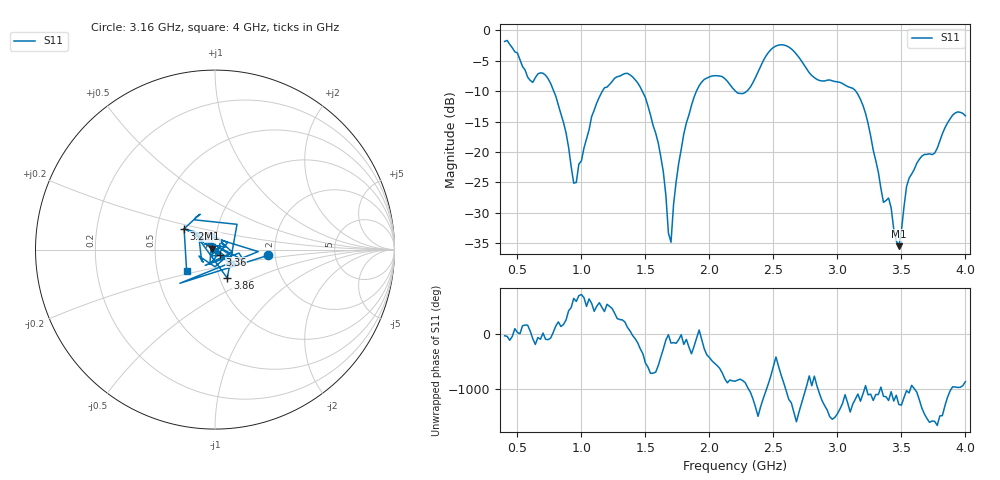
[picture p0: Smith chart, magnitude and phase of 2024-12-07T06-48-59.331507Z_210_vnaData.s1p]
!Created with skrf (http://scikit-rf.org).
# Hz S RI R 50.0
!freq ReS11 ImS11
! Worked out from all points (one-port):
!   181 points, 400 MHz to 4 GHz, reference 50 ohm
!   lowest |S11| = -35.5 dB at 3.48 GHz (marker M1), VSWR 1.03, Z = 48.4 + j0.416 ohm
!   |S11| at or under -10 dB: 784.2 MHz to 1.164 GHz (379.6 MHz wide, 39 % of centre); 1.476 GHz to 1.899 GHz (422.8 MHz wide, 25.1 % of centre); 3.144 GHz to end of sweep (the widest 3 of 4)
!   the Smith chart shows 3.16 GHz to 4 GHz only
!   S11 on the Smith chart (normalised r, x): 3.16 GHz: 1.84, -0.13; 3.22 GHz: 0.69, +0.17; 3.36 GHz: 1.05, -0.06; 3.86 GHz: 1.09, -0.36; 4 GHz: 0.71, -0.18
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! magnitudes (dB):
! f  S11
! 400 MHz  -1.8
! 600 MHz  -8.2
! 740 MHz  -7.9
! 860 MHz  -15.1
! 940 MHz  -25.1
! 960 MHz  -25.0
! 1.12 GHz  -11.9
! 1.3 GHz  -7.5
! 1.5 GHz  -11.0
! 1.62 GHz  -20.8
! 1.7 GHz  -34.9
! 1.76 GHz  -21.9
! 1.82 GHz  -15.2
! 1.94 GHz  -8.5
! 2.2 GHz  -9.9
! 2.3 GHz  -9.8
! 2.5 GHz  -2.8
! 2.66 GHz  -3.4
! 2.84 GHz  -8.1
! 3.1 GHz  -9.4
! 3.16 GHz  -10.5
! 3.22 GHz  -13.7
! 3.36 GHz  -28.3
! 3.4 GHz  -27.6
! 3.48 GHz  -35.5
! 3.56 GHz  -24.3
! 3.86 GHz  -15.2
! 4 GHz  -14.1
